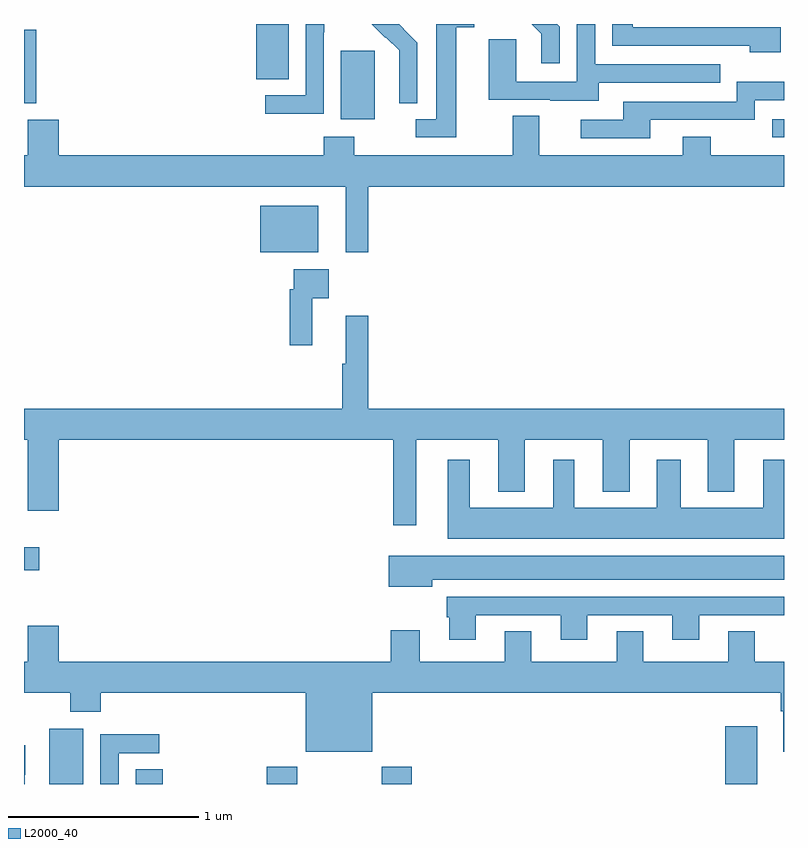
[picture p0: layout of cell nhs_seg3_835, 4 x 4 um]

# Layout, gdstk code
import gdstk
lib = gdstk.Library(unit=1e-6, precision=1e-09)
def R(c, l, rs):  # rectangles x0, y0, x1, y1
    for r in rs: c.add(gdstk.rectangle(r[:2], r[2:], *l))
def P(c, l, *ps):  # polygons
    for p in ps: c.add(gdstk.Polygon(p, *l))
L2000_40 = (2000, 40)

nhs_seg3_835 = lib.new_cell('nhs_seg3_835')
R(nhs_seg3_835, L2000_40, [(153.134,736.4,153.313,736.69), (153.587,736.4,153.731,736.478), (154.277,736.4,154.437,736.492), (154.882,736.4,155.042,736.492), (156.692,736.4,156.859,736.705), (153,737.525,153.079,737.647), (154.244,739.199,154.549,739.444), (156.939,739.803,157,739.899), (154.667,739.898,154.846,740.259), (153,739.983,153.065,740.371), (154.223,740.11,154.393,740.4)])
P(nhs_seg3_835, L2000_40, [(155.07,740.302),(154.997,740.375),(154.998,740.376),(154.974,740.4),(154.83,740.4),(154.902,740.328),(154.905,740.331),(154.976,740.261),(154.976,740.138),(154.974,740.138),(154.974,739.984),(155.07,739.984)],
  [(156.025,740.091),(156.665,740.091),(156.665,740.187),(156.006,740.187),(156.006,740.4),(155.91,740.4),(155.91,740.097),(155.592,740.097),(155.592,740.321),(155.447,740.321),(155.447,740.001),(155.771,740.001),(155.771,739.997),(156.025,739.997)],
  [(154.578,740.356),(154.581,740.356),(154.581,740.4),(154.482,740.4),(154.482,740.025),(154.269,740.025),(154.269,739.927),(154.578,739.927)],
  [(155.82,740.386),(155.806,740.4),(155.672,740.4),(155.723,740.349),(155.723,740.193),(155.82,740.193)],
  [(155.275,740.384),(155.371,740.384),(155.371,740.4),(155.171,740.4),(155.171,739.899),(155.061,739.899),(155.061,739.803),(155.275,739.803)],
  [(156.982,740.382),(156.205,740.382),(156.205,740.4),(156.096,740.4),(156.096,740.286),(156.821,740.286),(156.821,740.252),(156.982,740.252)],
  [(156.295,739.896),(156.846,739.896),(156.846,739.998),(157,739.998),(157,740.095),(156.75,740.095),(156.75,739.992),(156.155,739.992),(156.155,739.896),(155.931,739.896),(155.931,739.8),(156.295,739.8)],
  [(157,739.708),(156.615,739.708),(156.615,739.807),(156.467,739.807),(156.467,739.708),(155.713,739.708),(155.713,739.916),(155.573,739.916),(155.573,739.708),(154.737,739.708),(154.737,739.807),(154.577,739.807),(154.577,739.708),(153.184,739.708),(153.184,739.897),(153.02,739.897),(153.02,739.708),(153,739.708),(153,739.544),(154.694,739.544),(154.694,739.2),(154.811,739.2),(154.811,739.544),(157,739.544)],
  [(154.517,738.956),(154.603,738.956),(154.603,739.108),(154.419,739.108),(154.419,739.004),(154.399,739.004),(154.399,738.708),(154.517,738.708)],
  [(155.065,738.212),(155.495,738.212),(155.495,737.939),(155.635,737.939),(155.635,738.212),(156.047,738.212),(156.047,737.939),(156.187,737.939),(156.187,738.212),(156.599,738.212),(156.599,737.939),(156.739,737.939),(156.739,738.212),(157,738.212),(157,738.376),(154.811,738.376),(154.811,738.865),(154.694,738.865),(154.694,738.612),(154.675,738.612),(154.675,738.376),(153,738.376),(153,738.212),(153.02,738.212),(153.02,737.838),(153.184,737.838),(153.184,738.212),(154.944,738.212),(154.944,737.763),(155.065,737.763)],
  [(157,738.106),(156.89,738.106),(156.89,737.854),(156.457,737.854),(156.457,738.106),(156.329,738.106),(156.329,737.854),(155.896,737.854),(155.896,738.106),(155.786,738.106),(155.786,737.854),(155.347,737.854),(155.347,738.106),(155.231,738.106),(155.231,737.69),(157,737.69)],
  [(155.149,737.474),(157,737.474),(157,737.602),(154.92,737.602),(154.92,737.438),(155.149,737.438)],
  [(155.377,737.289),(155.825,737.289),(155.825,737.16),(155.965,737.16),(155.965,737.289),(156.413,737.289),(156.413,737.16),(156.553,737.16),(156.553,737.289),(157,737.289),(157,737.385),(155.225,737.385),(155.225,737.277),(155.237,737.277),(155.237,737.16),(155.377,737.16)],
  [(157,737.044),(156.847,737.044),(156.847,737.204),(156.707,737.204),(156.707,737.044),(156.259,737.044),(156.259,737.204),(156.119,737.204),(156.119,737.044),(155.671,737.044),(155.671,737.204),(155.531,737.204),(155.531,737.044),(155.083,737.044),(155.083,737.209),(154.931,737.209),(154.931,737.044),(153.184,737.044),(153.184,737.233),(153.02,737.233),(153.02,737.044),(153,737.044),(153,736.88),(153.244,736.88),(153.244,736.781),(153.404,736.781),(153.404,736.88),(154.484,736.88),(154.484,736.571),(154.834,736.571),(154.834,736.88),(156.983,736.88),(156.983,736.784),(156.995,736.784),(156.995,736.569),(157,736.569)],
  [(153.498,736.563),(153.712,736.563),(153.712,736.662),(153.402,736.662),(153.402,736.4),(153.498,736.4)],
  [(153.005,736.45),(153.006,736.45),(153.006,736.604),(153,736.604),(153,736.4),(153.005,736.4)])

lib.write_gds('nhs_seg3_835.gds')
